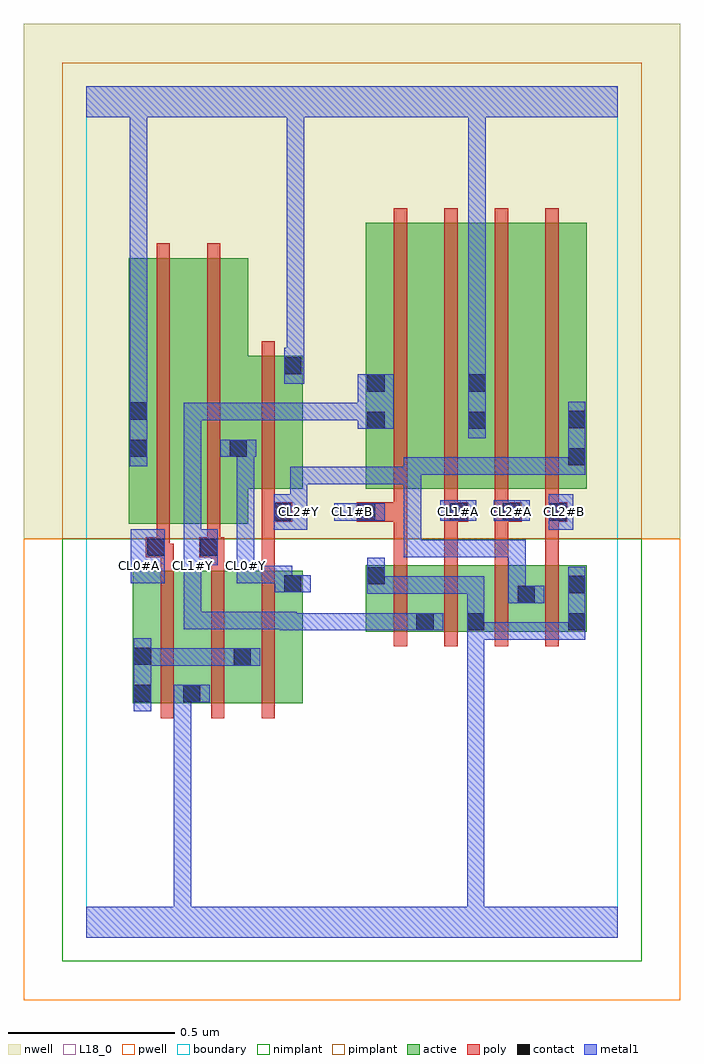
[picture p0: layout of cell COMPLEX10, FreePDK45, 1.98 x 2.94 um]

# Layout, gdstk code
import gdstk
lib = gdstk.Library(unit=1e-6, precision=1e-09)
def R(c, l, rs):  # rectangles x0, y0, x1, y1
    for r in rs: c.add(gdstk.rectangle(r[:2], r[2:], *l))
def A(c, l, x, y, w, h, nx, ny, dx, dy):  # array of equal rectangles
    R(c, l, [(x+i*dx, y+j*dy, x+i*dx+w, y+j*dy+h) for i in range(nx) for j in range(ny)])
active = (1, 0)
pwell = (2, 0)
nwell = (3, 0)
nimplant = (4, 0)
pimplant = (5, 0)
poly = (9, 0)
contact = (10, 0)
metal1 = (11, 0)
L18_0 = (18, 0)
boundary = (235, 0)

complex10 = lib.new_cell('COMPLEX10')
A(complex10, active, 0.99, 0.92, 0.212, 0.2, 3, 1, 0.152, 0)
R(complex10, active, [(0.14,0.704,0.348,1.104), (0.14,0.704,0.2,1.104), (0.288,0.704,0.5,1.104), (0.288,0.704,0.348,0.826), (0.44,0.704,0.652,1.104), (0.44,0.756,0.5,0.936), (0.592,0.756,0.652,1.104), (0.842,0.92,0.902,1.12), (0.842,0.92,1.05,1.12), (0.99,0.92,1.05,0.98), (1.142,0.92,1.202,0.986), (1.294,0.92,1.354,1.062), (1.446,0.92,1.506,1.12), (0.128,1.244,0.308,2.044), (0.128,1.244,0.188,2.044), (0.308,1.244,0.488,2.044), (0.428,1.35,0.652,1.75), (0.428,1.35,0.488,1.69), (0.592,1.35,0.652,1.75), (0.842,1.35,0.902,2.044), (0.842,1.35,1.022,2.15), (1.022,1.35,1.206,2.15), (1.146,1.35,1.326,2.15), (1.326,1.35,1.506,2.15), (1.446,1.35,1.506,2.044), (1.146,1.398,1.206,2.044)])
R(complex10, pwell, [(-0.188,-0.188,1.788,1.2)])
R(complex10, nwell, [(-0.188,1.2,1.788,2.748)])
R(complex10, nimplant, [(-0.072,-0.072,1.672,1.2)])
R(complex10, pimplant, [(-0.072,1.2,1.672,2.632)])
A(complex10, poly, 0.224, 0.66, 0.04, 0.488, 3, 1, 0.152, 0)
A(complex10, poly, 0.926, 0.876, 0.04, 0.288, 4, 1, 0.152, 0)
A(complex10, poly, 0.926, 1.124, 0.04, 0.166, 4, 1, 0.152, 0)
A(complex10, poly, 0.926, 1.27, 0.04, 0.076, 4, 1, 0.152, 0)
A(complex10, poly, 0.926, 1.306, 0.04, 0.888, 4, 1, 0.152, 0)
R(complex10, poly, [(0.224,1.108,0.264,1.184), (0.376,1.108,0.416,1.184), (0.528,1.108,0.568,1.29), (0.18,1.144,0.252,1.204), (0.212,1.144,0.252,1.184), (0.212,1.144,0.264,1.184), (0.34,1.144,0.416,1.204), (0.212,1.164,0.252,1.24), (0.364,1.164,0.404,1.24), (0.364,1.164,0.404,1.204), (0.364,1.164,0.404,1.204), (0.212,1.2,0.252,2.088), (0.364,1.2,0.404,2.088), (0.528,1.25,0.568,1.29), (0.528,1.25,0.568,1.29), (0.528,1.25,0.62,1.31), (0.814,1.25,0.966,1.31), (1.078,1.25,1.118,1.29), (1.078,1.25,1.118,1.29), (1.078,1.25,1.15,1.31), (1.23,1.25,1.27,1.29), (1.23,1.25,1.27,1.29), (1.23,1.25,1.31,1.31), (1.382,1.25,1.422,1.29), (1.382,1.25,1.422,1.29), (1.382,1.25,1.448,1.31), (0.528,1.27,0.568,1.346), (0.926,1.27,0.966,1.31), (0.926,1.27,0.966,1.31), (0.528,1.306,0.568,1.794)])
R(complex10, contact, [(0.144,0.708,0.196,0.76), (0.292,0.708,0.344,0.76), (0.444,0.818,0.496,0.87), (0.144,0.82,0.196,0.872), (0.994,0.924,1.046,0.976), (1.146,0.924,1.198,0.976), (1.45,0.924,1.502,0.976), (1.298,1.006,1.35,1.058), (1.45,1.036,1.502,1.088), (0.596,1.038,0.648,1.09), (0.846,1.062,0.898,1.114), (0.184,1.148,0.236,1.2), (0.344,1.148,0.396,1.2), (0.564,1.254,0.616,1.306), (0.818,1.254,0.87,1.306), (1.094,1.254,1.146,1.306), (1.254,1.254,1.306,1.306), (1.392,1.254,1.444,1.306), (1.45,1.42,1.502,1.472), (0.132,1.446,0.184,1.498), (0.432,1.446,0.484,1.498), (0.846,1.53,0.898,1.582), (1.15,1.53,1.202,1.582), (1.45,1.532,1.502,1.584), (0.132,1.558,0.184,1.61), (0.846,1.642,0.898,1.694), (1.15,1.642,1.202,1.694), (0.596,1.694,0.648,1.746)])
R(complex10, metal1, [(0,0,1.6,0.092), (0.264,0.04,0.316,0.092), (0.264,0.04,0.316,0.092), (0.264,0.04,0.316,0.76), (1.146,0.04,1.198,0.092), (1.146,0.04,1.198,0.092), (1.146,0.04,1.198,0.092), (1.146,0.04,1.198,0.092), (1.146,0.04,1.198,0.092), (1.146,0.04,1.198,0.092), (1.146,0.04,1.198,0.948), (0.144,0.68,0.196,0.9), (0.264,0.708,0.316,0.76), (0.264,0.708,0.316,0.76), (0.264,0.708,0.316,0.76), (0.264,0.708,0.316,0.76), (0.264,0.708,0.316,0.76), (0.264,0.708,0.316,0.76), (0.264,0.708,0.316,0.76), (0.264,0.708,0.316,0.76), (0.264,0.708,0.316,0.76), (0.264,0.708,0.316,0.76), (0.264,0.708,0.372,0.76), (0.144,0.818,0.196,0.87), (0.144,0.818,0.196,0.87), (0.144,0.818,0.346,0.87), (0.294,0.818,0.346,0.87), (0.294,0.818,0.346,0.87), (0.294,0.818,0.346,0.87), (0.294,0.818,0.468,0.87), (0.416,0.818,0.524,0.87), (1.146,0.896,1.198,0.948), (1.146,0.896,1.198,0.948), (1.146,0.896,1.198,0.948), (1.146,0.896,1.198,0.948), (1.146,0.896,1.198,0.948), (1.146,0.896,1.198,0.948), (1.146,0.896,1.198,0.948), (1.146,0.896,1.198,0.948), (1.146,0.896,1.198,0.948), (1.146,0.896,1.198,0.948), (1.146,0.896,1.198,0.948), (1.146,0.896,1.198,0.948), (1.146,0.896,1.392,0.948), (1.146,0.896,1.198,1.004), (1.34,0.896,1.392,0.948), (1.34,0.896,1.502,0.948), (1.45,0.896,1.502,0.948), (1.45,0.896,1.502,0.948), (1.45,0.896,1.502,1.116), (0.582,0.924,0.634,0.976), (0.582,0.924,0.634,0.976), (0.582,0.924,0.894,0.976), (0.582,0.924,0.634,0.98), (0.842,0.924,0.894,0.976), (0.842,0.924,0.894,0.976), (0.842,0.924,0.894,0.976), (0.842,0.924,1.018,0.976), (0.966,0.924,1.074,0.976), (0.294,0.928,0.346,0.98), (0.294,0.928,0.346,1.118), (0.294,0.928,0.506,0.98), (0.454,0.928,0.506,0.98), (0.454,0.928,0.506,0.98), (0.454,0.928,0.506,0.98), (0.454,0.928,0.506,0.98), (0.454,0.928,0.506,0.98), (0.454,0.928,0.634,0.98), (1.146,0.952,1.198,1.086), (1.27,1.006,1.322,1.196), (1.27,1.006,1.378,1.058), (0.846,1.034,0.898,1.086), (0.846,1.034,0.898,1.086), (0.846,1.034,1.074,1.086), (0.846,1.034,0.898,1.142), (1.022,1.034,1.074,1.086), (1.022,1.034,1.074,1.086), (1.022,1.034,1.074,1.086), (1.022,1.034,1.198,1.086), (1.146,1.034,1.198,1.086), (0.568,1.038,0.676,1.09), (0.568,1.038,0.62,1.118), (0.134,1.066,0.236,1.228), (0.294,1.066,0.346,1.2), (0.454,1.066,0.506,1.174), (0.454,1.066,0.62,1.118), (0.568,1.066,0.62,1.118), (0.568,1.066,0.62,1.118), (0.568,1.066,0.62,1.118), (0.344,1.12,0.396,1.228), (0.454,1.122,0.506,1.498), (0.956,1.144,1.008,1.196), (0.956,1.144,1.008,1.196), (0.956,1.144,1.008,1.196), (0.956,1.144,1.184,1.196), (0.956,1.144,1.008,1.416), (1.132,1.144,1.184,1.196), (1.132,1.144,1.184,1.196), (1.132,1.144,1.184,1.196), (1.132,1.144,1.322,1.196), (1.27,1.144,1.322,1.196), (0.294,1.146,0.396,1.198), (0.294,1.148,0.346,1.2), (0.294,1.148,0.346,1.2), (0.294,1.148,0.346,1.2), (0.294,1.148,0.346,1.2), (0.294,1.148,0.346,1.608), (0.564,1.226,0.666,1.334), (1.392,1.226,1.466,1.334), (0.746,1.254,0.898,1.306), (1.066,1.254,1.174,1.316), (1.226,1.254,1.334,1.316), (0.614,1.282,0.666,1.334), (0.614,1.282,0.666,1.416), (0.614,1.364,0.898,1.416), (0.846,1.364,0.898,1.416), (0.846,1.364,0.898,1.416), (0.846,1.364,0.898,1.416), (0.846,1.364,1.008,1.416), (0.956,1.364,1.008,1.416), (0.956,1.364,1.008,1.444), (0.956,1.392,1.008,1.444), (0.956,1.392,1.008,1.444), (0.956,1.392,1.008,1.444), (0.956,1.392,1.212,1.444), (1.16,1.392,1.212,1.444), (1.16,1.392,1.212,1.444), (1.16,1.392,1.212,1.444), (1.16,1.392,1.322,1.444), (1.27,1.392,1.322,1.444), (1.27,1.392,1.502,1.444), (1.45,1.392,1.502,1.444), (1.45,1.392,1.502,1.444), (1.45,1.392,1.502,1.612), (0.132,1.418,0.184,1.638), (0.404,1.446,0.512,1.498), (0.454,1.446,0.506,1.498), (0.454,1.446,0.506,1.498), (1.15,1.502,1.202,1.722), (0.818,1.53,0.926,1.694), (0.294,1.556,0.346,1.608), (0.294,1.556,0.506,1.608), (0.454,1.556,0.506,1.608), (0.454,1.556,0.506,1.608), (0.454,1.556,0.506,1.608), (0.454,1.556,0.622,1.608), (0.57,1.556,0.622,1.608), (0.57,1.556,0.622,1.608), (0.57,1.556,0.622,1.608), (0.57,1.556,0.87,1.608), (0.132,1.586,0.184,2.52), (0.596,1.666,0.656,1.774), (1.15,1.67,1.202,1.722), (1.15,1.67,1.202,1.722), (1.15,1.67,1.202,2.52), (0.604,1.722,0.656,1.774), (0.604,1.722,0.656,1.774), (0.604,1.722,0.656,1.774), (0.604,1.722,0.656,1.774), (0.604,1.722,0.656,2.52), (0,2.468,1.6,2.56), (0.132,2.468,0.184,2.52), (0.132,2.468,0.184,2.52), (0.132,2.468,0.184,2.52), (0.132,2.468,0.184,2.52), (0.132,2.468,0.184,2.52), (0.132,2.468,0.184,2.52), (0.132,2.468,0.184,2.52), (0.132,2.468,0.184,2.52), (0.604,2.468,0.656,2.52), (0.604,2.468,0.656,2.52), (0.604,2.468,0.656,2.52), (0.604,2.468,0.656,2.52), (0.604,2.468,0.656,2.52), (0.604,2.468,0.656,2.52), (0.604,2.468,0.656,2.52), (0.604,2.468,0.656,2.52), (0.604,2.468,0.656,2.52), (0.604,2.468,0.656,2.52), (0.604,2.468,0.656,2.52), (0.604,2.468,0.656,2.52), (1.15,2.468,1.202,2.52), (1.15,2.468,1.202,2.52), (1.15,2.468,1.202,2.52), (1.15,2.468,1.202,2.52), (1.15,2.468,1.202,2.52), (1.15,2.468,1.202,2.52)])
A(complex10, L18_0, 0.134, 1.094, 0.052, 0.052, 3, 1, 0.16, 0)
A(complex10, L18_0, 1.094, 1.254, 0.052, 0.052, 3, 1, 0.16, 0)
R(complex10, L18_0, [(0,0,1.6,0.092), (0.264,0.04,0.316,0.092), (0.264,0.04,0.316,0.092), (0.264,0.04,0.316,0.76), (1.146,0.04,1.198,0.092), (1.146,0.04,1.198,0.092), (1.146,0.04,1.198,0.092), (1.146,0.04,1.198,0.092), (1.146,0.04,1.198,0.092), (1.146,0.04,1.198,0.092), (1.146,0.04,1.198,0.948), (0.264,0.708,0.316,0.76), (0.264,0.708,0.316,0.76), (0.264,0.708,0.316,0.76), (0.264,0.708,0.316,0.76), (0.264,0.708,0.316,0.76), (0.264,0.708,0.316,0.76), (0.264,0.708,0.316,0.76), (0.264,0.708,0.316,0.76), (0.264,0.708,0.316,0.76), (0.264,0.708,0.316,0.76), (0.264,0.708,0.372,0.76), (1.146,0.896,1.198,0.948), (1.146,0.896,1.198,0.948), (1.146,0.896,1.198,0.948), (1.146,0.896,1.198,0.948), (1.146,0.896,1.198,0.948), (1.146,0.896,1.198,0.948), (1.146,0.896,1.198,0.948), (1.146,0.896,1.198,0.948), (1.146,0.896,1.198,0.948), (1.146,0.896,1.198,0.948), (1.146,0.896,1.198,0.948), (1.146,0.896,1.198,0.948), (1.146,0.896,1.198,1.004), (1.146,0.896,1.392,0.948), (1.34,0.896,1.392,0.948), (1.34,0.896,1.502,0.948), (1.45,0.896,1.502,1.116), (1.45,0.896,1.502,0.948), (1.45,0.896,1.502,0.948), (0.582,0.924,0.634,0.976), (0.582,0.924,0.634,0.976), (0.582,0.924,0.634,0.98), (0.582,0.924,0.894,0.976), (0.842,0.924,0.894,0.976), (0.842,0.924,0.894,0.976), (0.842,0.924,0.894,0.976), (0.842,0.924,1.018,0.976), (0.966,0.924,1.074,0.976), (0.294,0.928,0.346,0.98), (0.294,0.928,0.346,1.118), (0.294,0.928,0.506,0.98), (0.454,0.928,0.506,0.98), (0.454,0.928,0.506,0.98), (0.454,0.928,0.506,0.98), (0.454,0.928,0.506,0.98), (0.454,0.928,0.506,0.98), (0.454,0.928,0.634,0.98), (1.146,0.952,1.198,1.086), (1.27,1.006,1.378,1.058), (1.27,1.006,1.322,1.196), (0.846,1.034,0.898,1.086), (0.846,1.034,0.898,1.086), (0.846,1.034,0.898,1.142), (0.846,1.034,1.074,1.086), (1.022,1.034,1.074,1.086), (1.022,1.034,1.074,1.086), (1.022,1.034,1.074,1.086), (1.022,1.034,1.198,1.086), (1.146,1.034,1.198,1.086), (0.568,1.038,0.676,1.09), (0.568,1.038,0.62,1.118), (0.134,1.066,0.236,1.228), (0.294,1.066,0.346,1.2), (0.454,1.066,0.506,1.174), (0.454,1.066,0.62,1.118), (0.568,1.066,0.62,1.118), (0.568,1.066,0.62,1.118), (0.568,1.066,0.62,1.118), (0.344,1.12,0.396,1.228), (0.454,1.122,0.506,1.498), (0.956,1.144,1.008,1.196), (0.956,1.144,1.008,1.196), (0.956,1.144,1.008,1.196), (0.956,1.144,1.184,1.196), (0.956,1.144,1.008,1.416), (1.132,1.144,1.184,1.196), (1.132,1.144,1.184,1.196), (1.132,1.144,1.184,1.196), (1.132,1.144,1.322,1.196), (1.27,1.144,1.322,1.196), (0.294,1.146,0.396,1.198), (0.294,1.148,0.346,1.2), (0.294,1.148,0.346,1.2), (0.294,1.148,0.346,1.2), (0.294,1.148,0.346,1.2), (0.294,1.148,0.346,1.608), (0.564,1.226,0.666,1.334), (1.392,1.226,1.466,1.334), (0.614,1.254,0.666,1.306), (0.746,1.254,0.898,1.306), (0.774,1.254,0.826,1.306), (1.066,1.254,1.174,1.316), (1.226,1.254,1.334,1.316), (0.614,1.282,0.666,1.334), (0.614,1.282,0.666,1.416), (0.614,1.364,0.898,1.416), (0.846,1.364,0.898,1.416), (0.846,1.364,0.898,1.416), (0.846,1.364,0.898,1.416), (0.846,1.364,1.008,1.416), (0.956,1.364,1.008,1.416), (0.956,1.364,1.008,1.444), (0.956,1.392,1.008,1.444), (0.956,1.392,1.008,1.444), (0.956,1.392,1.008,1.444), (0.956,1.392,1.212,1.444), (1.16,1.392,1.212,1.444), (1.16,1.392,1.212,1.444), (1.16,1.392,1.212,1.444), (1.16,1.392,1.322,1.444), (1.27,1.392,1.322,1.444), (1.27,1.392,1.502,1.444), (1.45,1.392,1.502,1.612), (1.45,1.392,1.502,1.444), (1.45,1.392,1.502,1.444), (0.132,1.418,0.184,1.638), (0.404,1.446,0.512,1.498), (0.454,1.446,0.506,1.498), (0.454,1.446,0.506,1.498), (1.15,1.502,1.202,1.722), (0.818,1.53,0.926,1.694), (0.294,1.556,0.346,1.608), (0.294,1.556,0.506,1.608), (0.454,1.556,0.506,1.608), (0.454,1.556,0.506,1.608), (0.454,1.556,0.506,1.608), (0.454,1.556,0.622,1.608), (0.57,1.556,0.622,1.608), (0.57,1.556,0.622,1.608), (0.57,1.556,0.622,1.608), (0.57,1.556,0.87,1.608), (0.132,1.586,0.184,2.52), (0.596,1.666,0.656,1.774), (1.15,1.67,1.202,1.722), (1.15,1.67,1.202,1.722), (1.15,1.67,1.202,2.52), (0.604,1.722,0.656,1.774), (0.604,1.722,0.656,1.774), (0.604,1.722,0.656,1.774), (0.604,1.722,0.656,1.774), (0.604,1.722,0.656,2.52), (0,2.468,1.6,2.56), (0.132,2.468,0.184,2.52), (0.132,2.468,0.184,2.52), (0.132,2.468,0.184,2.52), (0.132,2.468,0.184,2.52), (0.132,2.468,0.184,2.52), (0.132,2.468,0.184,2.52), (0.132,2.468,0.184,2.52), (0.132,2.468,0.184,2.52), (0.604,2.468,0.656,2.52), (0.604,2.468,0.656,2.52), (0.604,2.468,0.656,2.52), (0.604,2.468,0.656,2.52), (0.604,2.468,0.656,2.52), (0.604,2.468,0.656,2.52), (0.604,2.468,0.656,2.52), (0.604,2.468,0.656,2.52), (0.604,2.468,0.656,2.52), (0.604,2.468,0.656,2.52), (0.604,2.468,0.656,2.52), (0.604,2.468,0.656,2.52), (1.15,2.468,1.202,2.52), (1.15,2.468,1.202,2.52), (1.15,2.468,1.202,2.52), (1.15,2.468,1.202,2.52), (1.15,2.468,1.202,2.52), (1.15,2.468,1.202,2.52)])
R(complex10, boundary, [(0,0,1.6,2.56)])
complex10.add(gdstk.Label('CL0#A', (0.16,1.12), layer=11, texttype=0))
complex10.add(gdstk.Label('CL0#Y', (0.48,1.12), layer=11, texttype=0))
complex10.add(gdstk.Label('CL1#A', (1.12,1.28), layer=11, texttype=0))
complex10.add(gdstk.Label('CL1#B', (0.8,1.28), layer=11, texttype=0))
complex10.add(gdstk.Label('CL1#Y', (0.32,1.12), layer=11, texttype=0))
complex10.add(gdstk.Label('CL2#A', (1.28,1.28), layer=11, texttype=0))
complex10.add(gdstk.Label('CL2#B', (1.44,1.28), layer=11, texttype=0))
complex10.add(gdstk.Label('CL2#Y', (0.64,1.28), layer=11, texttype=0))

lib.write_gds('COMPLEX10.gds')
